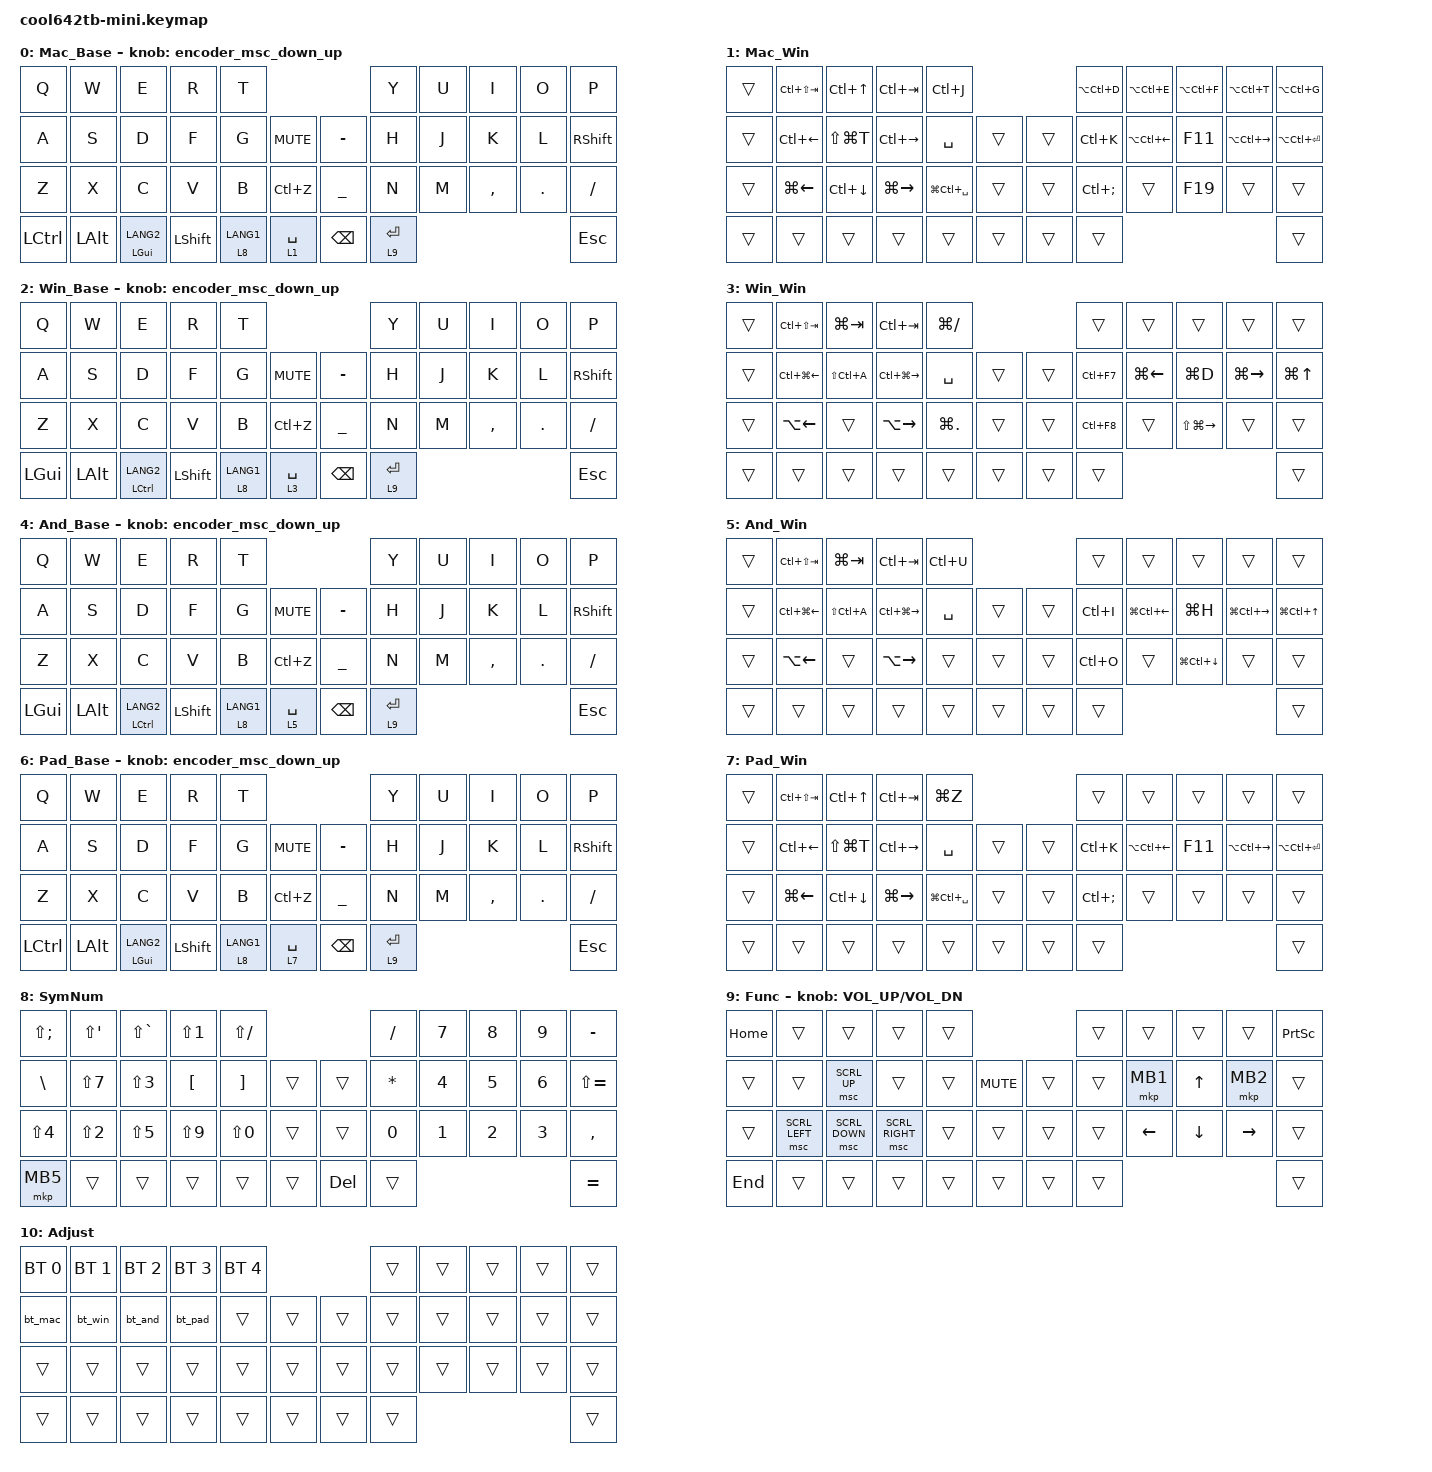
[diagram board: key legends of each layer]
#include <behaviors.dtsi>
#include <dt-bindings/zmk/bt.h>
#include <dt-bindings/zmk/keys.h>
#include <dt-bindings/zmk/pointing.h>

#define MOUSE 4
#define SCROLL 5
#define NUM 6
#define ZMK_POINTING_DEFAULT_SCRL_VAL 80

&mt {
    flavor = "balanced";
    quick-tap-ms = <0>;
};

/ {
    combos {
        compatible = "zmk,combos";

        Tab {
            bindings = <&kp TAB>;
            key-positions = <11 12>;
        };
    };

    behaviors {
        encoder_msc_down_up: encoder_msc_down_up {
            compatible = "zmk,behavior-sensor-rotate";
            label = "ENCODER_MSC_DOWN_UP";
            #sensor-binding-cells = <0>;
            bindings = <&msc SCRL_UP>, <&msc SCRL_DOWN>;

            tap-ms = <20>;
        };
    };

    macros {
        bt_mac: mac {
            compatible = "zmk,behavior-macro";
            #binding-cells = <0>;
            bindings = <&bt BT_SEL 0>, <&macro_wait_time 200>, <&to 0>;

            label = "MAC";
        };

        bt_win: bt_win {
            compatible = "zmk,behavior-macro";
            #binding-cells = <0>;
            bindings = <&bt BT_SEL 1>, <&macro_wait_time 200>, <&to 2>;

            label = "BT_WIN";
        };

        bt_and: bt_and {
            compatible = "zmk,behavior-macro";
            #binding-cells = <0>;
            bindings = <&bt BT_SEL 2>, <&macro_wait_time 200>, <&to 4>;

            label = "BT_AND";
        };

        bt_pad: bt_pad {
            compatible = "zmk,behavior-macro";
            #binding-cells = <0>;
            bindings = <&bt BT_SEL 3>, <&macro_wait_time 200>, <&to 6>;

            label = "BT_PAD";
        };
    };

    keymap {
        compatible = "zmk,keymap";

        Mac_Base {
            bindings = <
&kp Q             &kp W         &kp E               &kp R       &kp T                                        &kp Y        &kp U  &kp I      &kp O    &kp P
&kp A             &kp S         &kp D               &kp F       &kp G        &kp K_MUTE       &kp MINUS      &kp H        &kp J  &kp K      &kp L    &kp RSHIFT
&kp Z             &kp X         &kp C               &kp V       &kp B        &kp LC(Z)        &kp UNDER      &kp N        &kp M  &kp COMMA  &kp DOT  &kp SLASH
&kp LEFT_CONTROL  &kp LEFT_ALT  &mt LEFT_GUI LANG2  &kp LSHIFT  &lt 8 LANG1  &lt 1 SPACE      &kp BACKSPACE  &lt 9 ENTER                             &kp ESC
            >;

            sensor-bindings = <&encoder_msc_down_up>;
        };

        Mac_Win {
            bindings = <
&trans  &kp LC(LS(TAB))  &kp LC(UP)     &kp LC(TAB)    &kp LC(J)                              &kp LA(LC(D))  &kp LA(LC(E))     &kp LA(LC(F))  &kp LA(LC(T))      &kp LA(LC(G))
&trans  &kp LC(LEFT)     &kp LS(LG(T))  &kp LC(RIGHT)  &kp SPACE          &trans      &trans  &kp LC(K)      &kp LA(LC(LEFT))  &kp F11        &kp LA(LC(RIGHT))  &kp LA(LC(ENTER))
&trans  &kp LG(LEFT)     &kp LC(DOWN)   &kp LG(RIGHT)  &kp LG(LC(SPACE))  &trans      &trans  &kp LC(SEMI)   &trans            &kp F19        &trans             &trans
&trans  &trans           &trans         &trans         &trans             &trans      &trans  &trans                                                             &trans
            >;
        };

        Win_Base {
            bindings = <
&kp Q         &kp W         &kp E                   &kp R       &kp T                                        &kp Y        &kp U  &kp I      &kp O    &kp P
&kp A         &kp S         &kp D                   &kp F       &kp G        &kp K_MUTE       &kp MINUS      &kp H        &kp J  &kp K      &kp L    &kp RSHIFT
&kp Z         &kp X         &kp C                   &kp V       &kp B        &kp LC(Z)        &kp UNDER      &kp N        &kp M  &kp COMMA  &kp DOT  &kp SLASH
&kp LEFT_GUI  &kp LEFT_ALT  &mt LEFT_CONTROL LANG2  &kp LSHIFT  &lt 8 LANG1  &lt 3 SPACE      &kp BACKSPACE  &lt 9 ENTER                             &kp ESC
            >;

            sensor-bindings = <&encoder_msc_down_up>;
        };

        Win_Win {
            bindings = <
&trans  &kp LC(LS(TAB))   &kp LG(TAB)    &kp LC(TAB)        &kp LG(SLASH)                       &trans      &trans        &trans             &trans         &trans
&trans  &kp LC(LG(LEFT))  &kp LS(LC(A))  &kp LC(LG(RIGHT))  &kp SPACE       &trans      &trans  &kp LC(F7)  &kp LG(LEFT)  &kp LG(D)          &kp LG(RIGHT)  &kp LG(UP)
&trans  &kp LA(LEFT)      &trans         &kp LA(RIGHT)      &kp LG(PERIOD)  &trans      &trans  &kp LC(F8)  &trans        &kp LS(LG(RIGHT))  &trans         &trans
&trans  &trans            &trans         &trans             &trans          &trans      &trans  &trans                                                      &trans
            >;
        };

        And_Base {
            bindings = <
&kp Q         &kp W         &kp E                   &kp R       &kp T                                        &kp Y        &kp U  &kp I      &kp O    &kp P
&kp A         &kp S         &kp D                   &kp F       &kp G        &kp K_MUTE       &kp MINUS      &kp H        &kp J  &kp K      &kp L    &kp RSHIFT
&kp Z         &kp X         &kp C                   &kp V       &kp B        &kp LC(Z)        &kp UNDER      &kp N        &kp M  &kp COMMA  &kp DOT  &kp SLASH
&kp LEFT_GUI  &kp LEFT_ALT  &mt LEFT_CONTROL LANG2  &kp LSHIFT  &lt 8 LANG1  &lt 5 SPACE      &kp BACKSPACE  &lt 9 ENTER                             &kp ESC
            >;

            sensor-bindings = <&encoder_msc_down_up>;
        };

        And_Win {
            bindings = <
&trans  &kp LC(LS(TAB))   &kp LG(TAB)    &kp LC(TAB)        &kp LC(U)                      &trans     &trans            &trans            &trans             &trans
&trans  &kp LC(LG(LEFT))  &kp LS(LC(A))  &kp LC(LG(RIGHT))  &kp SPACE  &trans      &trans  &kp LC(I)  &kp LG(LC(LEFT))  &kp LG(H)         &kp LG(LC(RIGHT))  &kp LG(LC(UP))
&trans  &kp LA(LEFT)      &trans         &kp LA(RIGHT)      &trans     &trans      &trans  &kp LC(O)  &trans            &kp LG(LC(DOWN))  &trans             &trans
&trans  &trans            &trans         &trans             &trans     &trans      &trans  &trans                                                            &trans
            >;
        };

        Pad_Base {
            bindings = <
&kp Q             &kp W         &kp E               &kp R       &kp T                                        &kp Y        &kp U  &kp I      &kp O    &kp P
&kp A             &kp S         &kp D               &kp F       &kp G        &kp K_MUTE       &kp MINUS      &kp H        &kp J  &kp K      &kp L    &kp RSHIFT
&kp Z             &kp X         &kp C               &kp V       &kp B        &kp LC(Z)        &kp UNDER      &kp N        &kp M  &kp COMMA  &kp DOT  &kp SLASH
&kp LEFT_CONTROL  &kp LEFT_ALT  &mt LEFT_GUI LANG2  &kp LSHIFT  &lt 8 LANG1  &lt 7 SPACE      &kp BACKSPACE  &lt 9 ENTER                             &kp ESC
            >;

            sensor-bindings = <&encoder_msc_down_up>;
        };

        Pad_Win {
            bindings = <
&trans  &kp LC(LS(TAB))  &kp LC(UP)     &kp LC(TAB)    &kp LG(Z)                              &trans        &trans            &trans   &trans             &trans
&trans  &kp LC(LEFT)     &kp LS(LG(T))  &kp LC(RIGHT)  &kp SPACE          &trans      &trans  &kp LC(K)     &kp LA(LC(LEFT))  &kp F11  &kp LA(LC(RIGHT))  &kp LA(LC(ENTER))
&trans  &kp LG(LEFT)     &kp LC(DOWN)   &kp LG(RIGHT)  &kp LG(LC(SPACE))  &trans      &trans  &kp LC(SEMI)  &trans            &trans   &trans             &trans
&trans  &trans           &trans         &trans         &trans             &trans      &trans  &trans                                                      &trans
            >;
        };

        SymNum {
            bindings = <
&kp LS(SEMI)   &kp LS(APOS)  &kp LS(GRAVE)     &kp LS(NUMBER_1)  &kp LS(SLASH)                       &kp SLASH  &kp N7  &kp N8  &kp N9  &kp MINUS
&kp BACKSLASH  &kp LS(N7)    &kp LS(NUMBER_3)  &kp LBKT          &kp RBKT       &trans      &trans   &kp ASTRK  &kp N4  &kp N5  &kp N6  &kp LS(EQUAL)
&kp LS(N4)     &kp LS(N2)    &kp LS(N5)        &kp LS(N9)        &kp LS(N0)     &trans      &trans   &kp N0     &kp N1  &kp N2  &kp N3  &kp COMMA
&mkp MB5       &trans        &trans            &trans            &trans         &trans      &kp DEL  &trans                             &kp EQUAL
            >;
        };

        Func {
            bindings = <
&kp HOME  &trans          &trans          &trans           &trans                          &trans  &trans    &trans    &trans     &kp PRINTSCREEN
&trans    &trans          &msc SCRL_UP    &trans           &trans  &kp K_MUTE      &trans  &trans  &mkp MB1  &kp UP    &mkp MB2   &trans
&trans    &msc SCRL_LEFT  &msc SCRL_DOWN  &msc SCRL_RIGHT  &trans  &trans          &trans  &trans  &kp LEFT  &kp DOWN  &kp RIGHT  &trans
&kp END   &trans          &trans          &trans           &trans  &trans          &trans  &trans                                 &trans
            >;

            sensor-bindings = <&inc_dec_kp C_VOL_UP C_VOL_DN>;
        };

        Adjust {
            bindings = <
&bt BT_SEL 0  &bt BT_SEL 1  &bt BT_SEL 2  &bt BT_SEL 3  &bt BT_SEL 4                      &trans  &trans  &trans  &trans  &trans
&bt_mac       &bt_win       &bt_and       &bt_pad       &trans        &trans      &trans  &trans  &trans  &trans  &trans  &trans
&trans        &trans        &trans        &trans        &trans        &trans      &trans  &trans  &trans  &trans  &trans  &trans
&trans        &trans        &trans        &trans        &trans        &trans      &trans  &trans                          &trans
            >;
        };
    };

    conditional_layers {
        compatible = "zmk,conditional-layers";

        Adjust {
            if-layers = <8 9>;
            then-layer = <10>;
        };
    };
};
